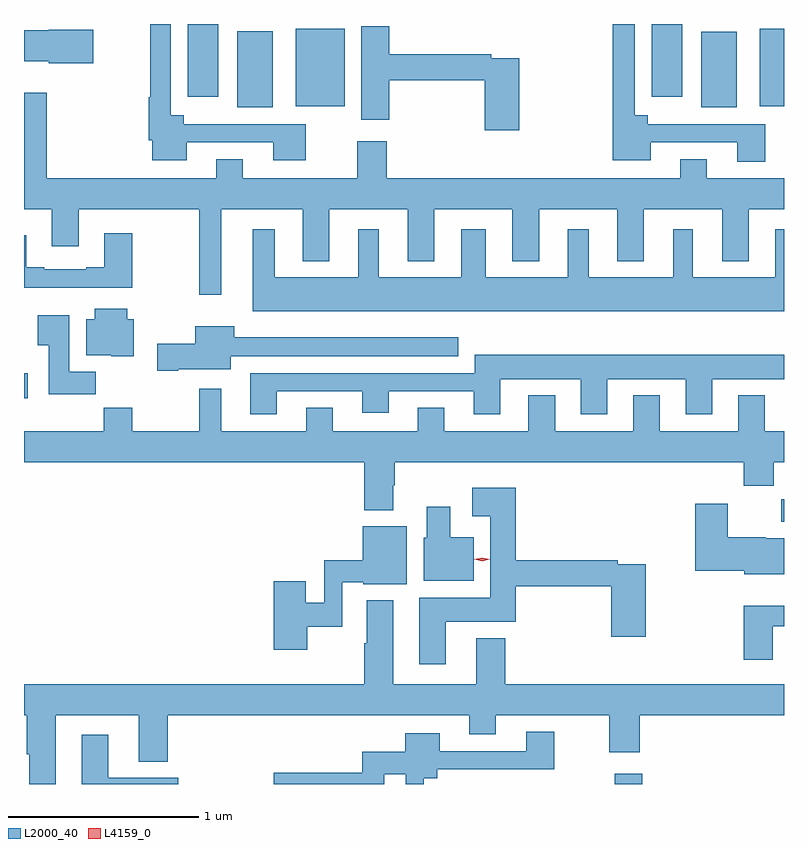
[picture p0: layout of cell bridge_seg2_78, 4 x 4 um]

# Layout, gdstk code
import gdstk
lib = gdstk.Library(unit=1e-6, precision=1e-09)
def R(c, l, rs):  # rectangles x0, y0, x1, y1
    for r in rs: c.add(gdstk.rectangle(r[:2], r[2:], *l))
def P(c, l, *ps):  # polygons
    for p in ps: c.add(gdstk.Polygon(p, *l))
L2000_40 = (2000, 40)
L4159_0 = (4159, 0)

bridge_seg2_78 = lib.new_cell('bridge_seg2_78')
R(bridge_seg2_78, L2000_40, [(365.594,655.267,365.741,655.321), (366.472,656.648,366.486,656.766), (362.486,657.296,362.506,657.43), (363.608,658.829,363.796,659.23), (366.05,658.829,366.238,659.227), (363.917,658.835,364.174,659.242), (366.359,658.835,366.486,659.242), (363.347,658.884,363.508,659.267), (365.789,658.884,365.95,659.267)])
P(bridge_seg2_78, L2000_40, [(366.387,658.74),(365.77,658.74),(365.77,658.786),(365.7,658.786),(365.7,659.267),(365.584,659.267),(365.584,658.55),(365.785,658.55),(365.785,658.644),(366.239,658.644),(366.239,658.542),(366.387,658.542)],
  [(363.343,658.644),(363.797,658.644),(363.797,658.55),(363.97,658.55),(363.97,658.74),(363.328,658.74),(363.328,658.786),(363.258,658.786),(363.258,659.267),(363.15,659.267),(363.15,658.882),(363.142,658.882),(363.142,658.654),(363.161,658.654),(363.161,658.55),(363.343,658.55)],
  [(365.093,659.088),(364.946,659.088),(364.946,659.108),(364.409,659.108),(364.409,659.255),(364.262,659.255),(364.262,658.764),(364.409,658.764),(364.409,658.972),(364.91,658.972),(364.91,658.707),(365.093,658.707)],
  [(362.851,659.238),(362.616,659.238),(362.616,659.233),(362.486,659.233),(362.486,659.072),(362.616,659.072),(362.616,659.06),(362.851,659.06)],
  [(363.637,658.555),(363.497,658.555),(363.497,658.456),(362.605,658.456),(362.605,658.906),(362.486,658.906),(362.486,658.292),(362.633,658.292),(362.633,658.098),(362.773,658.098),(362.773,658.292),(363.409,658.292),(363.409,657.843),(363.523,657.843),(363.523,658.292),(363.953,658.292),(363.953,658.019),(364.093,658.019),(364.093,658.292),(364.505,658.292),(364.505,658.019),(364.645,658.019),(364.645,658.292),(365.057,658.292),(365.057,658.019),(365.197,658.019),(365.197,658.292),(365.609,658.292),(365.609,658.019),(365.749,658.019),(365.749,658.292),(366.161,658.292),(366.161,658.019),(366.301,658.019),(366.301,658.292),(366.486,658.292),(366.486,658.456),(366.079,658.456),(366.079,658.555),(365.939,658.555),(365.939,658.456),(364.394,658.456),(364.394,658.651),(364.241,658.651),(364.241,658.456),(363.637,658.456)],
  [(366.486,658.186),(366.44,658.186),(366.44,657.934),(366.007,657.934),(366.007,658.186),(365.903,658.186),(365.903,657.934),(365.458,657.934),(365.458,658.186),(365.348,658.186),(365.348,657.934),(364.915,657.934),(364.915,658.186),(364.787,658.186),(364.787,657.934),(364.354,657.934),(364.354,658.186),(364.244,658.186),(364.244,657.934),(363.805,657.934),(363.805,658.186),(363.689,658.186),(363.689,657.755),(366.486,657.755)],
  [(363.057,658.165),(362.909,658.165),(362.909,657.988),(362.813,657.988),(362.813,657.975),(362.593,657.975),(362.593,657.988),(362.497,657.988),(362.497,658.156),(362.486,658.156),(362.486,657.878),(363.057,657.878)],
  [(363.064,657.712),(363.029,657.712),(363.029,657.769),(362.858,657.769),(362.858,657.712),(362.813,657.712),(362.813,657.524),(362.946,657.524),(362.946,657.518),(363.064,657.518)],
  [(362.864,657.436),(362.725,657.436),(362.725,657.733),(362.558,657.733),(362.558,657.577),(362.615,657.577),(362.615,657.318),(362.864,657.318)],
  [(363.298,657.449),(363.574,657.449),(363.574,657.518),(364.771,657.518),(364.771,657.619),(363.592,657.619),(363.592,657.676),(363.386,657.676),(363.386,657.584),(363.186,657.584),(363.186,657.442),(363.298,657.442)],
  [(363.817,657.333),(364.265,657.333),(364.265,657.221),(364.405,657.221),(364.405,657.333),(364.853,657.333),(364.853,657.213),(364.993,657.213),(364.993,657.398),(365.417,657.398),(365.417,657.213),(365.557,657.213),(365.557,657.398),(365.969,657.398),(365.969,657.213),(366.109,657.213),(366.109,657.398),(366.486,657.398),(366.486,657.526),(364.859,657.526),(364.859,657.429),(363.677,657.429),(363.677,657.213),(363.817,657.213)],
  [(364.429,656.84),(364.437,656.84),(364.437,656.96),(366.275,656.96),(366.275,656.836),(366.431,656.836),(366.431,656.96),(366.486,656.96),(366.486,657.124),(366.385,657.124),(366.385,657.313),(366.245,657.313),(366.245,657.124),(365.833,657.124),(365.833,657.313),(365.693,657.313),(365.693,657.124),(365.281,657.124),(365.281,657.313),(365.141,657.313),(365.141,657.124),(364.699,657.124),(364.699,657.248),(364.559,657.248),(364.559,657.124),(364.111,657.124),(364.111,657.248),(363.971,657.248),(363.971,657.124),(363.523,657.124),(363.523,657.346),(363.409,657.346),(363.409,657.124),(363.057,657.124),(363.057,657.248),(362.905,657.248),(362.905,657.124),(362.486,657.124),(362.486,656.96),(364.277,656.96),(364.277,656.708),(364.429,656.708)],
  [(364.705,656.12),(365.075,656.12),(365.075,656.308),(365.576,656.308),(365.576,656.043),(365.759,656.043),(365.759,656.424),(365.612,656.424),(365.612,656.444),(365.075,656.444),(365.075,656.827),(364.845,656.827),(364.845,656.675),(364.94,656.675),(364.94,656.248),(364.565,656.248),(364.565,655.896),(364.705,655.896)],
  [(366.486,656.56),(366.39,656.56),(366.39,656.566),(366.19,656.566),(366.19,656.743),(366.02,656.743),(366.02,656.39),(366.276,656.39),(366.276,656.372),(366.486,656.372)],
  [(364.852,656.566),(364.729,656.566),(364.729,656.725),(364.607,656.725),(364.607,656.562),(364.589,656.562),(364.589,656.336),(364.852,656.336)],
  [(363.978,656.094),(364.161,656.094),(364.161,656.328),(364.272,656.328),(364.272,656.318),(364.501,656.318),(364.501,656.623),(364.268,656.623),(364.268,656.444),(364.065,656.444),(364.065,656.222),(363.97,656.222),(363.97,656.335),(363.8,656.335),(363.8,655.974),(363.978,655.974)],
  [(362.653,655.628),(363.089,655.628),(363.089,655.385),(363.242,655.385),(363.242,655.628),(364.829,655.628),(364.829,655.529),(364.969,655.529),(364.969,655.628),(365.566,655.628),(365.566,655.434),(365.726,655.434),(365.726,655.628),(366.486,655.628),(366.486,655.792),(365.018,655.792),(365.018,656.035),(364.865,656.035),(364.865,655.792),(364.429,655.792),(364.429,656.233),(364.289,656.233),(364.289,656.009),(364.277,656.009),(364.277,655.792),(362.486,655.792),(362.486,655.628),(362.501,655.628),(362.501,655.423),(362.513,655.423),(362.513,655.267),(362.653,655.267)],
  [(366.427,656.097),(366.486,656.097),(366.486,656.206),(366.275,656.206),(366.275,655.92),(366.427,655.92)],
  [(364.383,655.318),(364.494,655.318),(364.494,655.267),(364.59,655.267),(364.59,655.298),(364.66,655.298),(364.66,655.344),(365.277,655.344),(365.277,655.543),(365.129,655.543),(365.129,655.44),(364.675,655.44),(364.675,655.534),(364.493,655.534),(364.493,655.436),(364.267,655.436),(364.267,655.327),(363.8,655.327),(363.8,655.267),(364.383,655.267)],
  [(363.299,655.3),(362.929,655.3),(362.929,655.525),(362.789,655.525),(362.789,655.267),(363.299,655.267)])
P(bridge_seg2_78, L4159_0, [(364.897,656.439),(364.857,656.449),(364.857,656.449),(364.857,656.449),(364.897,656.459),(364.936,656.45),(364.937,656.45),(364.936,656.449)])

lib.write_gds('bridge_seg2_78.gds')
